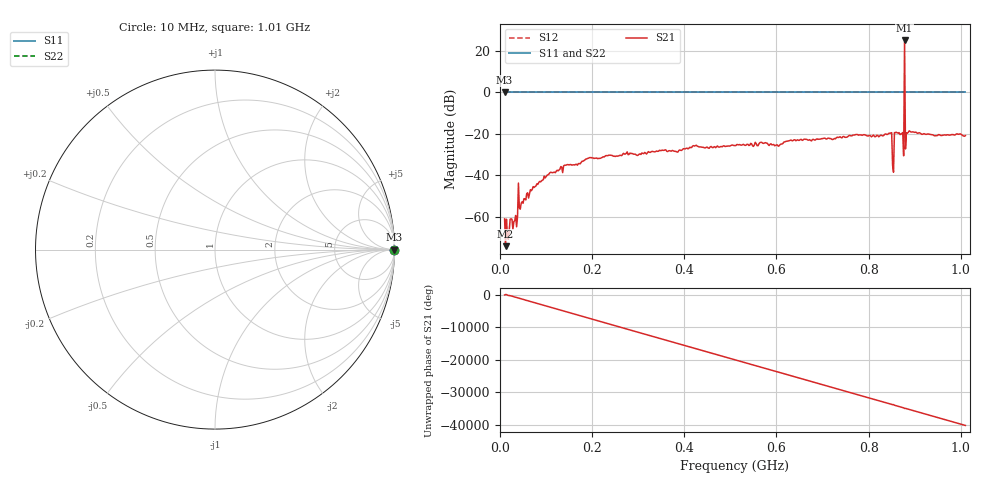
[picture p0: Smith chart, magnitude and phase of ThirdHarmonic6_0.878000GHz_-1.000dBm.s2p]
! 8/16/2025 4:56:40 AM
! C:\ANRITSUVNA\TEMP\TEMP.S2P
! CHANNEL.1
! TR.MEASUREMENT
! RAW.DATA
! RF.CORRECTION.OFF
! AVERAGING.OFF
! IF.BANDWIDTH: 5KHZ
! SWEEPTYPE:  FREQ.SWEEP(Linear)
! Reference Plane Port Info
! PORT:  PORT1  PORT2
! DISTANCE:  0  m  0  m
! TIME:  0  s  0  s
! PHASE.OFFSET:  0  deg.  0  deg.
! LOSS:  0  dB  0  dB
! REF.LOSS:  0  dB  0  dB
! REF.FREQ:  0  Hz  0  Hz
! Power Info
! POWER:  -20  dBm  -20  dBm
! EFF.POWER:  -20  dBm  -20  dBm
! SOURCE.ATTEN:  0  dB  0  dB
! TEST.ATTEN:  0  dB  0  dB
# GHZ S RI R 50.0
! FREQ.GHZ  S11RE  S11IM  S21RE  S21IM  S12RE  S12IM  S22RE  S22IM
!; PortSelection: Port_12
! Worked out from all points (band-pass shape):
!   501 points, 10 MHz to 1.01 GHz, reference 50 ohm
!   highest |S21| = 25.00 dB at 878 MHz (marker M1); lowest = -74.3 dB at 12 MHz (marker M2)
!   |S21| within 3 dB of the highest: 877.8922 MHz to 878.1146 MHz (222.4 kHz wide, 0.0253 % of centre)
!   lowest |S11| = 0.0 dB at 10 MHz (marker M3)
!   |S11| at or under -10 dB: nowhere
!   |S22| runs from 0.0 to 0.0 dB; largest |S21 - S12| = 17
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0.01  1 0  -9.16e-05 -0.000876  1 0  1 0
0.012  1 0  0.000174 8.38e-05  1 0  1 0
0.016  1 0  -0.000292 -0.000236  1 0  1 0
0.026  1 0  -7.88e-05 -0.00086  1 0  1 0
0.032  1 0  0.000797 -6.25e-05  1 0  1 0
0.044  1 0  -0.000809 -0.00128  1 0  1 0
0.1  1 0  -0.00368 0.00847  1 0  1 0
0.178  1 0  -0.0214 -0.0034  1 0  1 0
0.344  1 0  0.0351 -0.0139  1 0  1 0
0.51  1 0  -0.0399 0.0332  1 0  1 0
0.678  1 0  -0.0545 -0.0475  1 0  1 0
0.844  1 0  0.1018 0.00986  1 0  1 0
0.846  1 0  0.024 -0.1002  1 0  1 0
0.85  1 0  -0.0576 0.0888  1 0  1 0
0.856  1 0  -0.0566 -0.0899  1 0  1 0
0.86  1 0  0.0297 0.1044  1 0  1 0
0.872  1 0  0.0669 -0.0758  1 0  1 0
0.874  1 0  -0.0686 -0.0817  1 0  1 0
0.878  1 0  15.67 -8.416  1 0  1 0
0.882  1 0  -0.00985 -0.105  1 0  1 0
0.884  1 0  -0.1026 -0.00971  1 0  1 0
1.01  1 0  -0.066 0.0611  1 0  1 0
